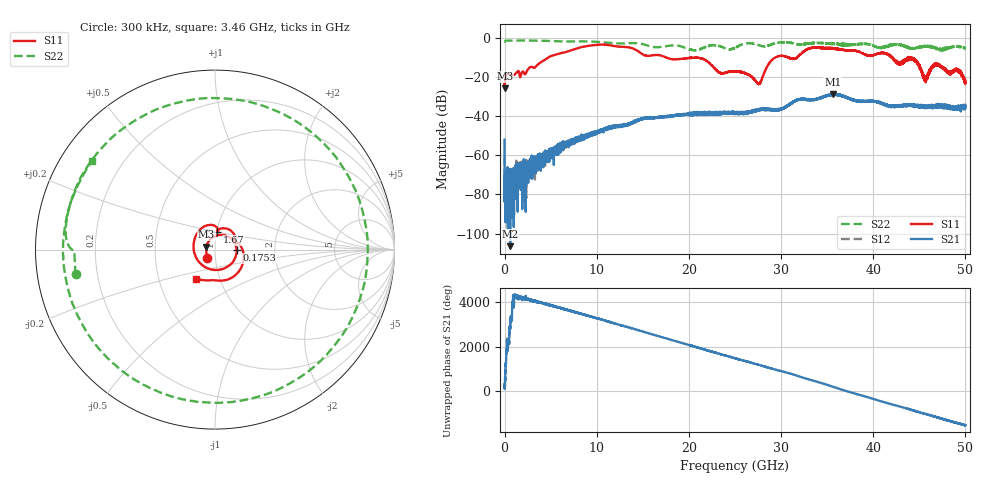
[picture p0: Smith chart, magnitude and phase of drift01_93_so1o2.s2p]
!Created with skrf (http://scikit-rf.org).
# Hz S RI R 50.0
!freq ReS11 ImS11 ReS21 ImS21 ReS12 ImS12 ReS22 ImS22
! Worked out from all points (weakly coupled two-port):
!   10001 points, 300 kHz to 50 GHz, reference 50 ohm
!   highest |S21| = -28.67 dB at 35.61 GHz (marker M1); lowest = -106.4 dB at 600.3 MHz (marker M2)
!   lowest |S11| = -25.8 dB at 5.3 MHz (marker M3), VSWR 1.11, Z = 45.3 + j1.42 ohm
!   |S11| at or under -10 dB: start of sweep to 4.769 GHz; 17.51 GHz to 29.39 GHz (11.88 GHz wide, 50.7 % of centre); 44.04 GHz to end of sweep (the widest 3 of 14)
!   |S22| runs from -6.6 to -1.4 dB; largest |S21 - S12| = 0.0041
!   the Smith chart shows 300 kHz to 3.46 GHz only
!   S11 on the Smith chart (normalised r, x): 300 kHz: 0.91, -0.09; 175.3 MHz: 1.27, -0.01; 1.67 GHz: 1.01, +0.20; 3.46 GHz: 0.77, -0.26
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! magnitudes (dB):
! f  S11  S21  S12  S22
! 300 kHz  -23.4  -52.0  -60.6  -2.1
! 5.3 MHz  -25.8  -83.8  -80.1  -2.1
! 175.3 MHz  -18.4  -77.1  -80.6  -1.4
! 255.3 MHz  -18.3  -72.5  -74.6  -1.4
! 600.3 MHz  -18.8  -106.4  -77.3  -1.5
! 1.67 GHz  -20.1  -67.3  -68.6  -1.4
! 3.46 GHz  -14.3  -61.4  -62.4  -1.5
! 8.335 GHz  -4.8  -51.6  -51.0  -1.8
! 16.67 GHz  -8.8  -40.8  -40.5  -4.8
! 21.2 GHz  -10.3  -38.6  -38.9  -5.8
! 25 GHz  -17.1  -38.2  -38.1  -5.1
! 27.59 GHz  -23.6  -36.9  -36.8  -3.8
! 29.28 GHz  -10.3  -36.7  -36.6  -2.9
! 31.45 GHz  -10.7  -32.2  -32.5  -3.0
! 33.34 GHz  -5.1  -31.7  -31.5  -2.6
! 35.61 GHz  -5.5  -28.7  -28.9  -2.9
! 41.67 GHz  -8.8  -34.6  -34.5  -4.3
! 42.74 GHz  -12.7  -35.2  -34.8  -3.2
! 44.43 GHz  -11.1  -34.5  -34.4  -5.2
! 45.63 GHz  -21.3  -35.5  -35.2  -4.2
! 46.89 GHz  -13.8  -34.9  -34.9  -5.3
! 50 GHz  -21.8  -34.7  -35.2  -5.4
